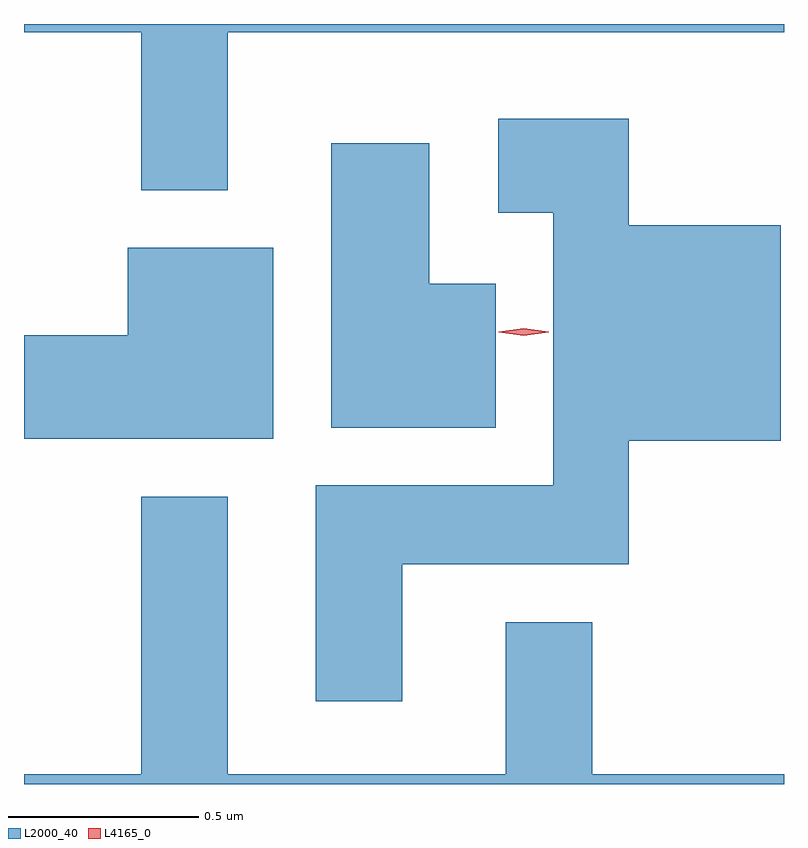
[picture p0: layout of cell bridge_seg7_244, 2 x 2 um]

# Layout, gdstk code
import gdstk
lib = gdstk.Library(unit=1e-6, precision=1e-09)
def P(c, l, *ps):  # polygons
    for p in ps: c.add(gdstk.Polygon(p, *l))
L2000_40 = (2000, 40)
L4165_0 = (4165, 0)

bridge_seg7_244 = lib.new_cell('bridge_seg7_244')
P(bridge_seg7_244, L2000_40, [(1668.539,1712.096),(1670.003,1712.096),(1670.003,1712.118),(1668.003,1712.118),(1668.003,1712.096),(1668.311,1712.096),(1668.311,1711.681),(1668.539,1711.681)],
  [(1668.999,1710.696),(1669.594,1710.696),(1669.594,1711.021),(1669.994,1711.021),(1669.994,1711.589),(1669.594,1711.589),(1669.594,1711.869),(1669.251,1711.869),(1669.251,1711.621),(1669.396,1711.621),(1669.396,1710.904),(1668.771,1710.904),(1668.771,1710.336),(1668.999,1710.336)],
  [(1669.244,1711.434),(1669.069,1711.434),(1669.069,1711.804),(1668.811,1711.804),(1668.811,1711.056),(1669.244,1711.056)],
  [(1668.659,1711.529),(1668.276,1711.529),(1668.276,1711.299),(1668.003,1711.299),(1668.003,1711.026),(1668.659,1711.026)],
  [(1669.271,1710.544),(1669.271,1710.144),(1668.539,1710.144),(1668.539,1710.874),(1668.311,1710.874),(1668.311,1710.144),(1668.003,1710.144),(1668.003,1710.118),(1670.003,1710.118),(1670.003,1710.144),(1669.499,1710.144),(1669.499,1710.544)])
P(bridge_seg7_244, L4165_0, [(1669.318,1711.298),(1669.252,1711.307),(1669.252,1711.308),(1669.252,1711.308),(1669.318,1711.318),(1669.384,1711.308),(1669.384,1711.308),(1669.384,1711.307)])

lib.write_gds('bridge_seg7_244.gds')
